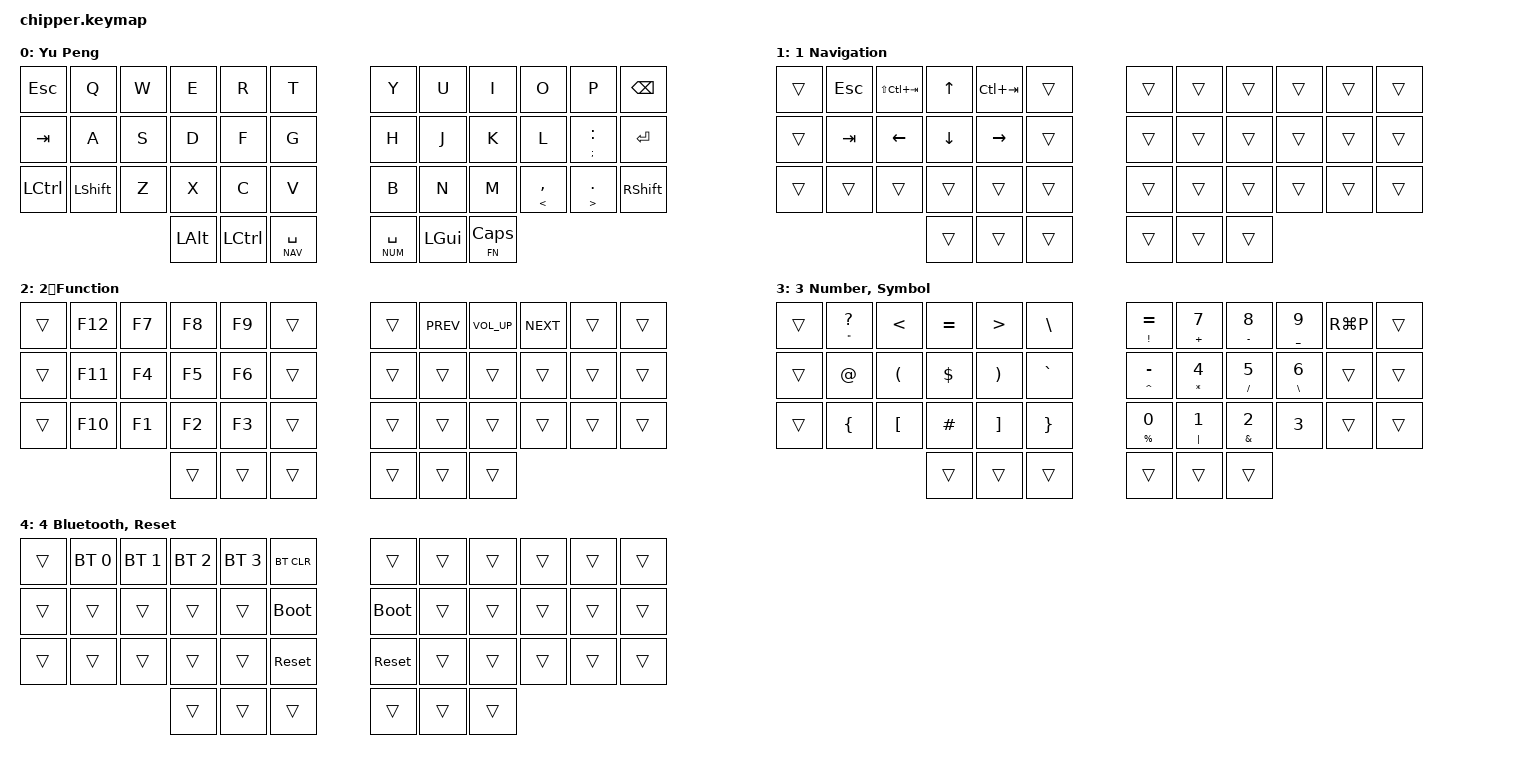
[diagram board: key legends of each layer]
#include <behaviors.dtsi>
#include <dt-bindings/zmk/keys.h>
#include <dt-bindings/zmk/bt.h>
#include <dt-bindings/zmk/outputs.h>

#define XXX &none
#define ___ &trans

#define COMBO_TIMEOUT 60

#define DEF 0
#define NAV 1
#define FN 2
#define NUM 3
#define SYS 4

/ {
    macros {
	nayeon: nayeon {
            compatible = "zmk,behavior-macro";
            #binding-cells = <0>;
            bindings
                = <&macro_tap_time 10>
		,<&macro_tap &kp N &kp A &kp Y &kp E &kp O &kp N &kp RET>;
        };
    };
};
/ {
    combos {
        compatible = "zmk,combos";
	 combo_cw {
            timeout-ms = <COMBO_TIMEOUT>;
            key-positions = <6 30>;
            bindings = <&nayeon>;
        };
    };
};
/ {
    conditional_layers {
        compatible = "zmk,conditional-layers";
        tri_layer {
            if-layers = <1 2>;
            then-layer = <4>;
        };
    };
};

/ {
        keymap {
                compatible = "zmk,keymap";

                DEF_layer {
                        display-name = "Yu Peng";
                        bindings = <
//╭──────╮ ╭─────────────┬─────────────┬─────────────┬─────────────┬─────────────╮   ╭─────────────┬─────────────┬─────────────┬─────────────┬─────────────╮ ╭──────╮
&kp ESC     &kp Q         &kp W         &kp E          &kp R         &kp T             &kp Y         &kp U         &kp I         &kp O         &kp  P        &kp BSPC
//├──────┤ ├─────────────┼─────────────┼─────────────┼─────────────┼─────────────┤   ├─────────────┼─────────────┼─────────────┼─────────────┼─────────────┤ ├──────┤
&kp TAB     &kp A         &kp S         &kp D         &kp  F         &kp G             &kp H         &kp J         &kp K         &kp L       &mt SEMI COLON   &kp RET
//├──────┤ ├─────────────┼─────────────┼─────────────┼─────────────┼─────────────┤   ├─────────────┼─────────────┼─────────────┼─────────────┼─────────────┤ ├──────┤
&kp LCTRL   &kp LSHIFT    &kp Z         &kp X         &kp C         &kp  V             &kp B         &kp N        &kp M        &mt LT COMMA  &mt GT DOT      &kp RSHIFT
//├──────┤ ╰─────────────┼─────────────┴─────────────┼─────────────┼─────────────┤   ├─────────────┼─────────────┼─────────────┴───────────────────────────╯ ├──────┤
                                         &kp LALT     &kp LCTRL      &lt NAV SPC       &lt NUM SPC   &kp LGUI      &lt FN CAPS
//                                     ╰────────────┼──────────────┴─────────────╯   ╰─────────────┴─────────────┼─────────────╯
                        >;
                };

                NAV_layer {
                        display-name = "1 Navigation";
                        bindings = <
//╭──────╮ ╭─────────────┬─────────────┬─────────────┬─────────────┬─────────────╮ ╭─────────────┬─────────────┬─────────────┬─────────────┬─────────────╮ ╭──────╮
    ___     &kp ESC      &kp LS(LC(TAB)) &kp UP       &kp LC(TAB)   ___             ___           ___           ___           ___            ___            ___
//├──────┤ ├─────────────┼─────────────┼─────────────┼─────────────┼─────────────┤ ├─────────────┼─────────────┼─────────────┼─────────────┼─────────────┤ ├──────┤
    ___     &kp TAB       &kp LEFT      &kp DOWN      &kp RIGHT     ___             ___           ___           ___           ___            ___            ___
//├──────┤ ├─────────────┼─────────────┼─────────────┼─────────────┼─────────────┤ ├─────────────┼─────────────┼─────────────┼─────────────┼─────────────┤ ├──────┤
    ___     ___           ___           ___           ___           ___             ___           ___           ___           ___           ___             ___
//├──────┤ ╰─────────────┼─────────────┴─────────────┼─────────────┼─────────────┤ ├─────────────┼─────────────┼─────────────┴───────────────────────────╯ ├──────┤
                                         ___           ___           ___             ___           ___          ___
//                                                   ╰─────────────┴─────────────╯ ╰─────────────┴─────────────╯
                        >;
                };

                FN_layer {
                        display-name = "2：Function";
                        bindings = <
//╭──────╮ ╭─────────────┬─────────────┬─────────────┬─────────────┬─────────────╮ ╭─────────────┬─────────────┬─────────────┬─────────────┬─────────────╮ ╭──────╮
    ___     &kp F12       &kp F7        &kp F8        &kp F9        ___               ___           &kp C_PREV    &kp C_VOL_UP  &kp C_NEXT    ___             ___
//├──────┤ ├─────────────┼─────────────┼─────────────┼─────────────┼─────────────┤ ├─────────────┼─────────────┼─────────────┼─────────────┼─────────────┤ ├──────┤
    ___     &kp F11       &kp F4        &kp F5        &kp F6        ___               ___           ___           ___           ___           ___             ___
//├──────┤ ├─────────────┼─────────────┼─────────────┼─────────────┼─────────────┤ ├─────────────┼─────────────┼─────────────┼─────────────┼─────────────┤ ├──────┤
    ___     &kp F10       &kp F1        &kp F2        &kp F3        ___               ___           ___           ___           ___           ___             ___
//├──────┤ ╰─────────────┼─────────────┴─────────────┼─────────────┼─────────────┤ ├─────────────┼─────────────┼─────────────┴───────────────────────────╯ ├──────┤
    ___                                                ___           ___              ___           ___                                                  ___
//╰──────╯                                           ╰─────────────┴─────────────╯ ╰─────────────┴─────────────╯                                           ╰──────╯
                        >;
		};

		NUM_layer {
                        display-name = "3 Number, Symbol";
                        bindings = <
//╭──────╮ ╭─────────────┬─────────────┬─────────────┬─────────────┬─────────────╮ ╭─────────────┬─────────────┬─────────────┬─────────────┬─────────────╮ ╭──────╮
    ___     &mt DQT QMARK &kp LT        &kp EQUAL     &kp GT        &kp BSLH          &mt EXCL EQUAL  &mt PLUS N7 &mt MINUS N8   &mt UNDER N9  &kp RG(P)     ___
//├──────┤ ├─────────────┼─────────────┼─────────────┼─────────────┼─────────────┤ ├─────────────┼─────────────┼─────────────┼─────────────┼─────────────┤ ├──────┤
    ___     &kp AT        &kp LPAR      &kp DLLR      &kp RPAR      &kp GRAVE         &mt CARET MINUS &mt STAR N4  &mt FSLH N5  &mt BSLH N6   ___           ___
//├──────┤ ├─────────────┼─────────────┼─────────────┼─────────────┼─────────────┤ ├─────────────┼─────────────┼─────────────┼─────────────┼─────────────┤ ├──────┤
    ___     &kp LBRC      &kp LBKT      &kp HASH      &kp RBKT      &kp RBRC          &mt PRCNT N0   &mt PIPE N1   &mt AMPS N2   &kp N3        ___           ___
//├──────┤ ╰─────────────┼─────────────┴─────────────┼─────────────┼─────────────┤ ├─────────────┼─────────────┼─────────────┴───────────────────────────╯ ├──────┤
                                         ___           ___           ___             ___           ___                                                       ___
//                                     ╰─────────────┴─────────────┴─────────────╯ ╰─────────────┴─────────────╯                                           ╰──────╯
                        >;
		};

        		SYS_layer {
                        display-name = "4 Bluetooth, Reset";
                        bindings = <
//╭──────╮ ╭─────────────┬─────────────┬─────────────┬─────────────┬─────────────╮ ╭─────────────┬─────────────┬─────────────┬─────────────┬─────────────╮ ╭──────╮
    ___    &bt BT_SEL 0   &bt BT_SEL 1  &bt BT_SEL 2  &bt BT_SEL 3   &bt BT_CLR       ___           ___           ___           ___           ___             ___
//├──────┤ ├─────────────┼─────────────┼─────────────┼─────────────┼─────────────┤ ├─────────────┼─────────────┼─────────────┼─────────────┼─────────────┤ ├──────┤
    ___     ___           ___           ___           ___           &bootloader       &bootloader   ___           ___           ___           ___             ___
//├──────┤ ├─────────────┼─────────────┼─────────────┼─────────────┼─────────────┤ ├─────────────┼─────────────┼─────────────┼─────────────┼─────────────┤ ├──────┤
    ___     ___           ___           ___           ___           &sys_reset        &sys_reset    ___           ___           ___           ___             ___
//├──────┤ ╰─────────────┼─────────────┴─────────────┼─────────────┼─────────────┤ ├─────────────┼─────────────┼─────────────┴───────────────────────────╯ ├──────┤
    ___                                                ___           ___              ___           ___                                                       ___
//╰──────╯                                           ╰─────────────┴─────────────╯ ╰─────────────┴─────────────╯                                           ╰──────╯
                        >;
		};
        };
};
